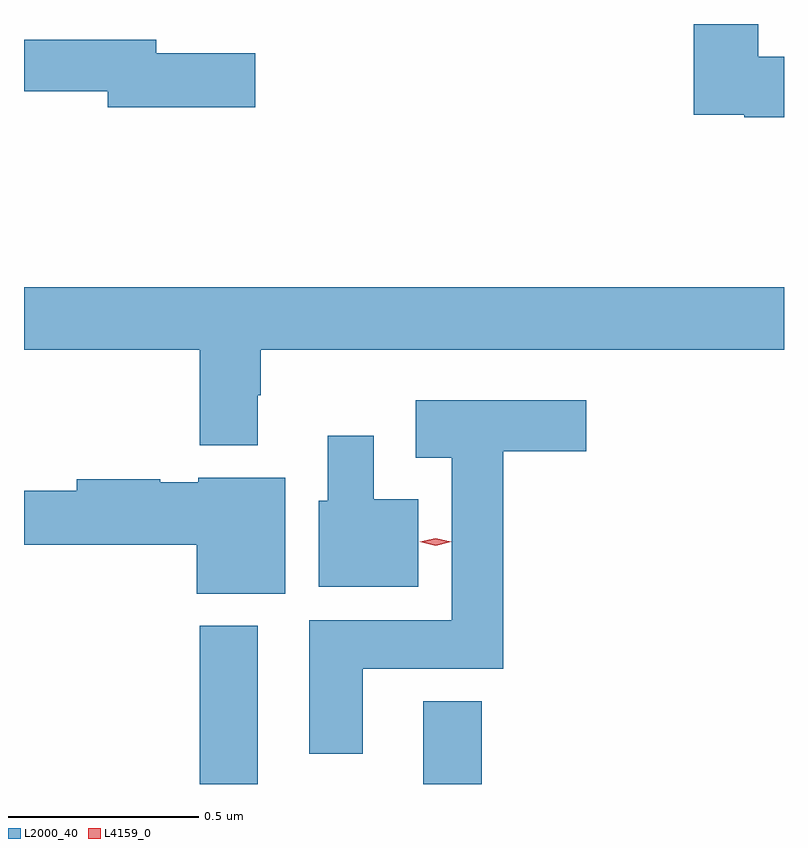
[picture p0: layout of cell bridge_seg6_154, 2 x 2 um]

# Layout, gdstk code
import gdstk
lib = gdstk.Library(unit=1e-6, precision=1e-09)
def R(c, l, rs):  # rectangles x0, y0, x1, y1
    for r in rs: c.add(gdstk.rectangle(r[:2], r[2:], *l))
def P(c, l, *ps):  # polygons
    for p in ps: c.add(gdstk.Polygon(p, *l))
L2000_40 = (2000, 40)
L4159_0 = (4159, 0)

bridge_seg6_154 = lib.new_cell('bridge_seg6_154')
R(bridge_seg6_154, L2000_40, [(604.703,948.857,604.855,949.273), (605.291,948.857,605.444,949.075)])
P(bridge_seg6_154, L2000_40, [(606.24,950.771),(606.172,950.771),(606.172,950.857),(606.002,950.857),(606.002,950.618),(606.135,950.618),(606.135,950.611),(606.24,950.611)],
  [(604.849,950.78),(604.588,950.78),(604.588,950.816),(604.24,950.816),(604.24,950.68),(604.46,950.68),(604.46,950.638),(604.849,950.638)],
  [(604.24,950),(604.703,950),(604.703,949.748),(604.855,949.748),(604.855,949.88),(604.863,949.88),(604.863,950),(606.24,950),(606.24,950.164),(604.24,950.164)],
  [(605.131,949.16),(605.501,949.16),(605.501,949.733),(605.719,949.733),(605.719,949.867),(605.271,949.867),(605.271,949.715),(605.366,949.715),(605.366,949.288),(604.991,949.288),(604.991,948.936),(605.131,948.936)],
  [(605.278,949.606),(605.161,949.606),(605.161,949.774),(605.039,949.774),(605.039,949.602),(605.015,949.602),(605.015,949.376),(605.278,949.376)],
  [(604.927,949.663),(604.698,949.663),(604.698,949.651),(604.598,949.651),(604.598,949.659),(604.379,949.659),(604.379,949.629),(604.24,949.629),(604.24,949.487),(604.694,949.487),(604.694,949.358),(604.927,949.358)])
P(bridge_seg6_154, L4159_0, [(605.323,949.484),(605.282,949.494),(605.282,949.494),(605.282,949.494),(605.323,949.504),(605.364,949.494),(605.364,949.494),(605.364,949.494)])

lib.write_gds('bridge_seg6_154.gds')
